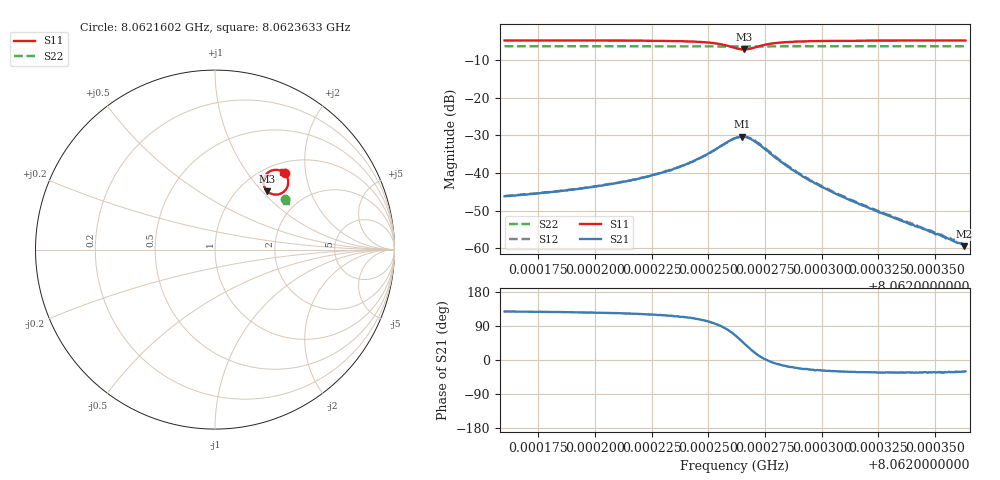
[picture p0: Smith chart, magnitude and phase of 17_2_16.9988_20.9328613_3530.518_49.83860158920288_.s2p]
#  HZ  S  RI  R  50.00
! Rohde & Schwarz Vector Network Analyzer
! Rohde-Schwarz,ZNB20-2Port,1311601062101988,3.16
! Created: UTC 3/20/2024, 10:52:50 PM
! freq[Hz]  re:S11  im:S11  re:S21  im:S21  re:S12  im:S12  re:S22  im:S22
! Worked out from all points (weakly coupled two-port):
!   401 points, 8.0621602 GHz to 8.0623633 GHz, reference 50 ohm
!   highest |S21| = -30.38 dB at 8.0622648 GHz (marker M1); lowest = -59.4 dB at 8.0623628 GHz (marker M2)
!   lowest |S11| = -7.2 dB at 8.0622658 GHz (marker M3), VSWR 2.55, Z = 66.6 + j53.5 ohm
!   |S11| at or under -10 dB: nowhere
!   |S22| runs from -6.4 to -6.3 dB; largest |S21 - S12| = 0.0012
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8.06216023e9  0.3885 0.4241  -0.00302 0.00386  -0.00279 0.00404  0.3917 0.2817
8.06217952e9  0.3914 0.4208  -0.00331 0.00443  -0.00308 0.00466  0.3923 0.2807
8.06219425e9  0.3941 0.4174  -0.00363 0.00509  -0.00334 0.00529  0.3928 0.2798
8.06221455e9  0.3991 0.4097  -0.00423 0.0066  -0.00385 0.00688  0.3934 0.2784
8.06222826e9  0.4035 0.4003  -0.00478 0.00871  -0.00425 0.00891  0.3941 0.2774
8.06223334e9  0.4053 0.3948  -0.00486 0.00962  -0.00436 0.01  0.3941 0.2768
8.06224197e9  0.4079 0.3805  -0.00508 0.0128  -0.00422 0.0131  0.3945 0.2757
8.06224958e9  0.4058 0.3583  -0.00374 0.0173  -0.00284 0.0176  0.3942 0.2746
8.06225415e9  0.3971 0.3379  -0.0012 0.0214  -0.000178 0.0214  0.3937 0.2736
8.06225821e9  0.3755 0.3167  0.00411 0.0252  0.00493 0.0248  0.3926 0.2728
8.06226177e9  0.3403 0.3064  0.0121 0.0264  0.0127 0.026  0.3912 0.2728
8.06226481e9  0.3027 0.3166  0.0198 0.0229  0.0205 0.0225  0.3898 0.2735
8.06226583e9  0.2917 0.3251  0.0218 0.0208  0.0225 0.0205  0.3894 0.2741
8.06226786e9  0.2758 0.3471  0.0245 0.0156  0.0253 0.0152  0.3891 0.275
8.0622704e9  0.2698 0.3775  0.0247 0.00882  0.0258 0.00831  0.3893 0.2765
8.062277e9  0.2931 0.4271  0.0185 -0.0011  0.019 -0.00195  0.3913 0.2779
8.06228613e9  0.3266 0.4434  0.0109 -0.00356  0.011 -0.00429  0.3932 0.2777
8.06229578e9  0.3459 0.4442  0.00691 -0.00331  0.00681 -0.0039  0.3943 0.2769
8.06231253e9  0.3619 0.4407  0.00371 -0.00223  0.00365 -0.00254  0.3955 0.2757
8.06232979e9  0.3703 0.4371  0.00225 -0.00146  0.00222 -0.00165  0.3962 0.2747
8.06236279e9  0.3785 0.4325  0.000918 -0.000542  0.000926 -0.000644  0.3975 0.273
8.0623633e9  0.3787 0.4323  0.00095 -0.000548  0.000907 -0.000659  0.3977 0.2729
